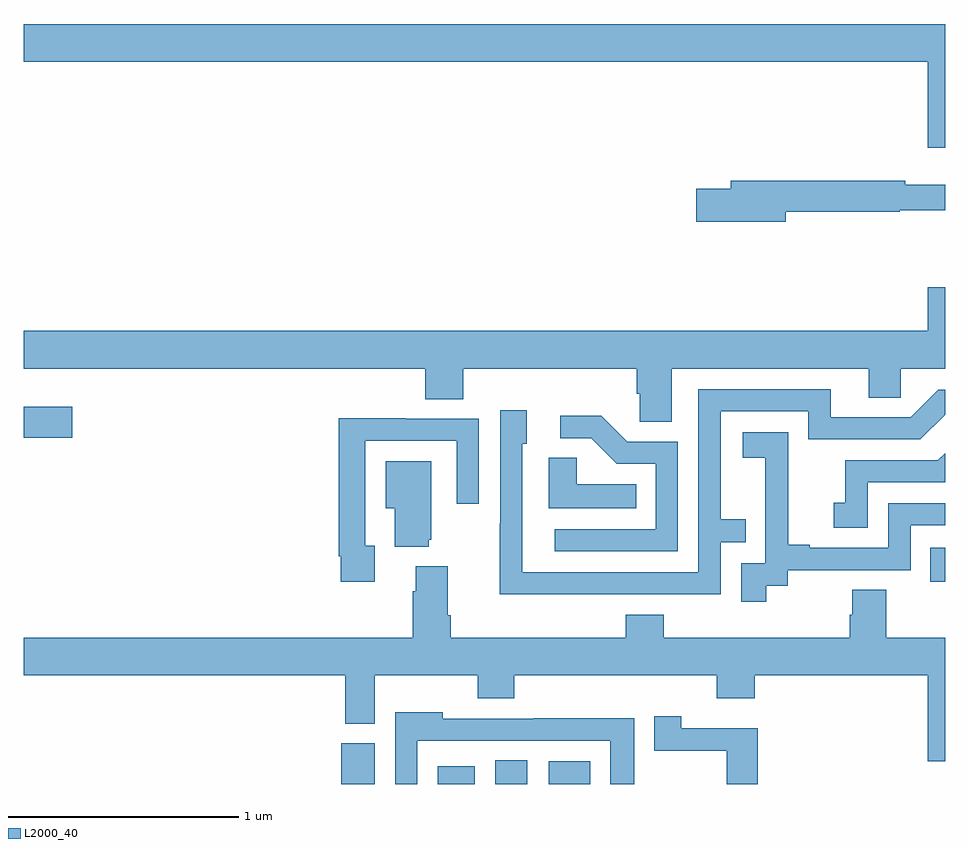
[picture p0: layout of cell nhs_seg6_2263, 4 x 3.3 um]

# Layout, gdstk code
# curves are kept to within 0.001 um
import gdstk
lib = gdstk.Library(unit=1e-6, precision=1e-09)
def R(c, l, rs):  # rectangles x0, y0, x1, y1
    for r in rs: c.add(gdstk.rectangle(r[:2], r[2:], *l))
def P(c, l, *ps):  # polygons
    for p in ps: c.add(gdstk.Polygon(p, *l))
L2000_40 = (2000, 40)

nhs_seg6_2263 = lib.new_cell('nhs_seg6_2263')
R(nhs_seg6_2263, L2000_40, [(246.377,977.5,246.523,977.676), (246.797,977.5,246.958,977.578), (247.046,977.5,247.186,977.603), (247.28,977.5,247.459,977.599), (248.935,978.378,249,978.525), (245,979.004,245.209,979.138)])
P(nhs_seg6_2263, L2000_40, [(249,980.8),(245,980.8),(245,980.636),(248.924,980.636),(248.924,980.262),(249,980.262)],
  [(248.308,979.984),(248.804,979.984),(248.804,979.992),(249,979.992),(249,980.101),(248.828,980.101),(248.828,980.12),(248.069,980.12),(248.069,980.084),(247.92,980.084),(247.92,979.942),(248.308,979.942)],
  [(247.813,979.304),(248.669,979.304),(248.669,979.177),(248.808,979.177),(248.808,979.304),(249,979.304),(249,979.657),(248.924,979.657),(248.924,979.468),(245,979.468),(245,979.304),(246.743,979.304),(246.743,979.171),(246.908,979.171),(246.908,979.304),(247.661,979.304),(247.661,979.195),(247.674,979.195),(247.674,979.072),(247.813,979.072)],
  [(247.529,978.324),(248.025,978.324),(248.025,978.549),(248.135,978.549),(248.135,978.65),(248.025,978.65),(248.025,979.119),(248.406,979.119),(248.406,978.996),(248.892,978.996),(249,979.104),(249,979.212),(248.97,979.212),(248.85,979.092),(248.503,979.092),(248.503,979.215),(247.929,979.215),(247.929,978.42),(247.164,978.42),(247.164,978.978),(247.183,978.978),(247.183,979.123),(247.068,979.123),(247.068,978.629),(247.066,978.629),(247.066,978.323)],
  [(247.839,978.987),(247.62,978.987),(247.507,979.1),(247.329,979.1),(247.329,979.002),(247.463,979.002),(247.574,978.891),(247.743,978.891),(247.743,978.606),(247.305,978.606),(247.305,978.51),(247.839,978.51)],
  [(246.523,978.534),(246.483,978.534),(246.483,978.99),(246.879,978.99),(246.879,978.717),(246.975,978.717),(246.975,979.086),(246.659,979.086),(246.659,979.088),(246.367,979.088),(246.367,978.49),(246.375,978.49),(246.375,978.378),(246.523,978.378)],
  [(248.224,978.361),(248.316,978.361),(248.316,978.429),(248.85,978.429),(248.85,978.624),(249,978.624),(249,978.72),(248.754,978.72),(248.754,978.525),(248.413,978.525),(248.413,978.538),(248.318,978.538),(248.318,978.821),(248.319,978.821),(248.319,979.027),(248.121,979.027),(248.121,978.917),(248.219,978.917),(248.219,978.689),(248.22,978.689),(248.22,978.459),(248.115,978.459),(248.115,978.291),(248.224,978.291)],
  [(248.664,978.81),(249,978.81),(249,978.937),(248.969,978.906),(248.566,978.906),(248.566,978.721),(248.517,978.721),(248.517,978.612),(248.664,978.612)],
  [(247.658,978.802),(247.401,978.802),(247.401,978.917),(247.28,978.917),(247.28,978.698),(247.658,978.698)],
  [(246.758,978.561),(246.769,978.561),(246.769,978.901),(246.572,978.901),(246.572,978.698),(246.611,978.698),(246.611,978.53),(246.758,978.53)],
  [(249,978.136),(248.745,978.136),(248.745,978.344),(248.597,978.344),(248.597,978.234),(248.585,978.234),(248.585,978.136),(247.778,978.136),(247.778,978.235),(247.613,978.235),(247.613,978.136),(246.854,978.136),(246.854,978.232),(246.841,978.232),(246.841,978.445),(246.701,978.445),(246.701,978.338),(246.689,978.338),(246.689,978.136),(245,978.136),(245,977.972),(246.395,977.972),(246.395,977.761),(246.523,977.761),(246.523,977.972),(246.97,977.972),(246.97,977.873),(247.13,977.873),(247.13,977.972),(248.009,977.972),(248.009,977.873),(248.174,977.873),(248.174,977.972),(248.924,977.972),(248.924,977.598),(249,977.598)],
  [(246.708,977.688),(247.547,977.688),(247.547,977.5),(247.651,977.5),(247.651,977.786),(247.213,977.786),(247.213,977.784),(246.819,977.784),(246.819,977.812),(246.612,977.812),(246.612,977.5),(246.708,977.5)],
  [(248.186,977.743),(247.854,977.743),(247.854,977.794),(247.736,977.794),(247.736,977.644),(248.051,977.644),(248.051,977.5),(248.186,977.5)])

lib.write_gds('nhs_seg6_2263.gds')
